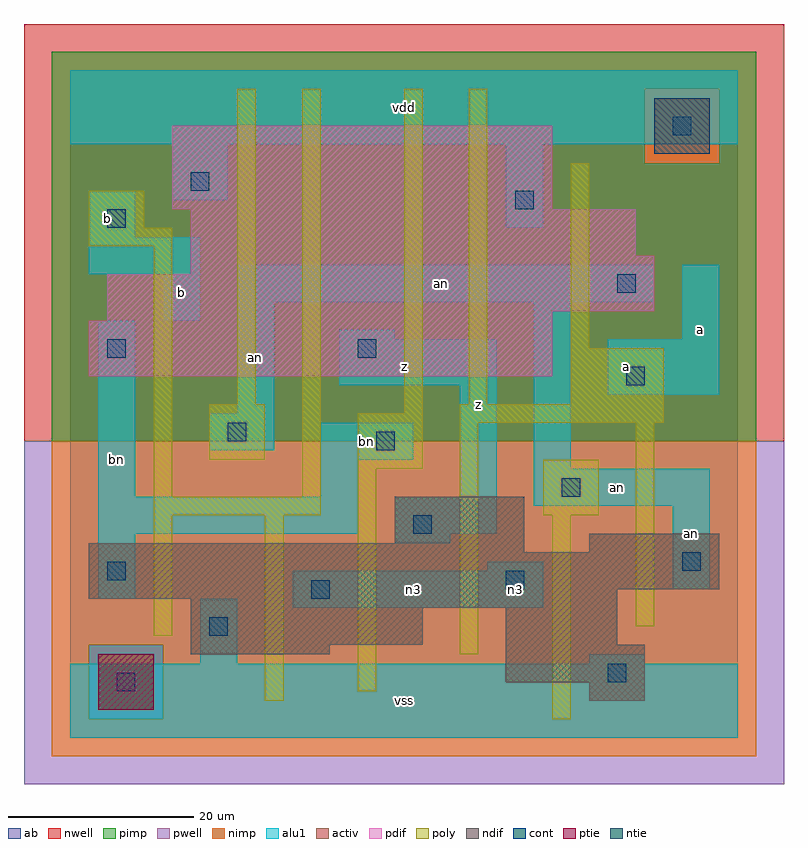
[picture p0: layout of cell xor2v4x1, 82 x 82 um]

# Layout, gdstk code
import gdstk
lib = gdstk.Library(unit=1e-6, precision=1e-09)
def R(c, l, rs):  # rectangles x0, y0, x1, y1
    for r in rs: c.add(gdstk.rectangle(r[:2], r[2:], *l))
ndif = (3, 0)
pdif = (4, 0)
ntie = (5, 0)
ptie = (6, 0)
cont = (25, 0)
pwell = (41, 0)
nwell = (42, 0)
activ = (43, 0)
pimp = (44, 0)
nimp = (45, 0)
poly = (46, 0)
alu1 = (49, 0)
ab = (63, 0)

xor2v4x1 = lib.new_cell('xor2v4x1')
R(xor2v4x1, ndif, [(56,4,62,6), (47,6,62,10), (13,9,28,10), (13,10,38,14), (47,10,59,14), (13,14,59,15), (2,15,59,16), (2,16,70,20), (2,20,49,21), (56,20,70,22), (35,21,49,26)])
R(xor2v4x1, pdif, [(2,39,52,45), (4,45,52,46), (4,46,63,50), (13,50,63,52), (13,52,61,57), (11,57,52,66)])
R(xor2v4x1, ntie, [(63,63,69,69)])
R(xor2v4x1, ptie, [(3,3,9,9)])
R(xor2v4x1, cont, [(5,5,7,7), (58,6,60,8), (15,11,17,13), (26,15,28,17), (47,16,49,18), (4,17,6,19), (66,18,68,20), (37,22,39,24), (53,26,55,28), (33,31,35,33), (17,32,19,34), (60,38,62,40), (4,41,6,43), (31,41,33,43), (59,48,61,50), (4,55,6,57), (48,57,50,59), (13,59,15,61), (65,65,67,67)])
R(xor2v4x1, pwell, [(-5,-5,77,32)])
R(xor2v4x1, nwell, [(-5,32,77,77)])
R(xor2v4x1, activ, [(3,3,9,9), (56,4,62,6), (47,6,62,10), (13,9,28,10), (13,10,38,14), (47,10,59,14), (13,14,59,15), (2,15,59,16), (2,16,70,20), (2,20,49,21), (56,20,70,22), (35,21,49,26), (2,39,52,45), (4,45,52,46), (4,46,63,50), (13,50,63,52), (13,52,61,57), (11,57,52,66), (63,63,69,69)])
R(xor2v4x1, pimp, [(2,2,10,10), (-2,32,74,62), (-2,62,62,70), (70,62,74,70), (-2,70,74,74)])
R(xor2v4x1, nimp, [(-2,-2,74,2), (-2,2,2,10), (10,2,74,10), (-2,10,74,32), (62,62,70,70)])
R(xor2v4x1, poly, [(52,2,54,24), (21,4,23,24), (31,5,33,29), (42,9,44,34), (9,11,11,24), (61,12,63,34), (9,24,27,26), (51,24,57,30), (9,26,11,53), (25,26,27,70), (31,29,38,35), (15,30,21,36), (42,34,64,36), (36,35,38,70), (18,36,20,70), (43,36,45,70), (54,36,64,42), (54,42,56,62), (2,53,11,55), (2,55,8,59)])
R(xor2v4x1, alu1, [(0,0,72,8), (14,8,18,15), (56,8,62,9), (24,14,51,18), (3,15,7,22), (65,16,69,25), (45,18,51,19), (35,21,41,22), (3,22,31,26), (35,22,46,26), (50,25,69,29), (3,26,7,45), (27,26,31,30), (42,26,46,38), (50,29,54,47), (27,30,37,34), (15,31,22,35), (18,35,22,47), (58,37,70,43), (29,38,46,43), (29,43,35,44), (66,43,70,51), (10,45,14,50), (18,47,63,51), (2,50,14,54), (2,54,7,59), (47,55,51,64), (11,58,17,64), (0,64,72,72)])
R(xor2v4x1, ab, [(0,0,72,72)])
xor2v4x1.add(gdstk.Label('bn', (5,30), layer=49, texttype=0))
xor2v4x1.add(gdstk.Label('an', (20,41), layer=49, texttype=0))
xor2v4x1.add(gdstk.Label('n3', (37,16), layer=49, texttype=0))
xor2v4x1.add(gdstk.Label('n3', (48,16), layer=49, texttype=0))
xor2v4x1.add(gdstk.Label('bn', (32,32), layer=49, texttype=0))
xor2v4x1.add(gdstk.Label('an', (67,22), layer=49, texttype=0))
xor2v4x1.add(gdstk.Label('an', (59,27), layer=49, texttype=0))
xor2v4x1.add(gdstk.Label('an', (40,49), layer=49, texttype=0))
xor2v4x1.add(gdstk.Label('b', (12,48), layer=49, texttype=0))
xor2v4x1.add(gdstk.Label('b', (4,56), layer=49, texttype=0))
xor2v4x1.add(gdstk.Label('vss', (36,4), layer=49, texttype=0))
xor2v4x1.add(gdstk.Label('z', (44,36), layer=49, texttype=0))
xor2v4x1.add(gdstk.Label('z', (36,40), layer=49, texttype=0))
xor2v4x1.add(gdstk.Label('vdd', (36,68), layer=49, texttype=0))
xor2v4x1.add(gdstk.Label('a', (60,40), layer=49, texttype=0))
xor2v4x1.add(gdstk.Label('a', (68,44), layer=49, texttype=0))

lib.write_gds('xor2v4x1.gds')
